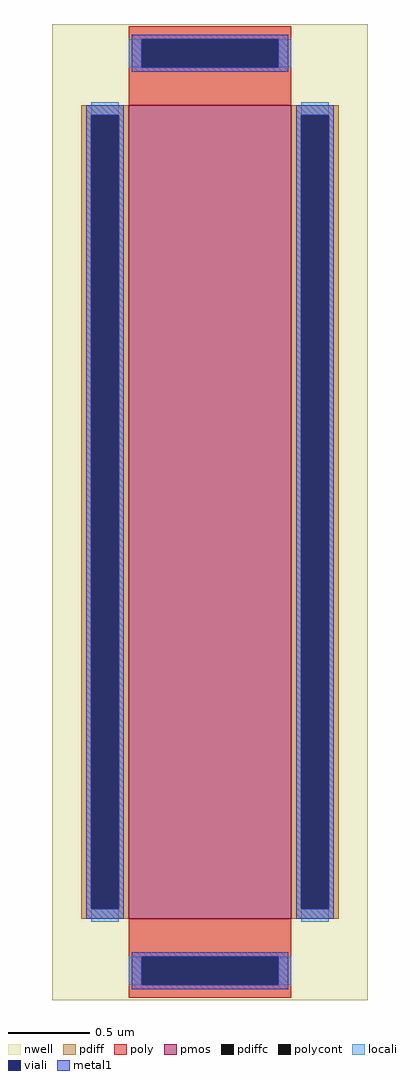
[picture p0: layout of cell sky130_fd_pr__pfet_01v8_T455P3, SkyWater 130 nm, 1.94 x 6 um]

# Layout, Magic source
magic
tech sky130B
magscale 1 2
<< nwell >>
rect -194 -600 194 600
<< pmos >>
rect -100 -500 100 500
<< pdiff >>
rect -158 488 -100 500
rect -158 -488 -146 488
rect -112 -488 -100 488
rect -158 -500 -100 -488
rect 100 488 158 500
rect 100 -488 112 488
rect 146 -488 158 488
rect 100 -500 158 -488
<< pdiffc >>
rect -146 -488 -112 488
rect 112 -488 146 488
<< poly >>
rect -100 581 100 597
rect -100 547 -84 581
rect 84 547 100 581
rect -100 500 100 547
rect -100 -547 100 -500
rect -100 -581 -84 -547
rect 84 -581 100 -547
rect -100 -597 100 -581
<< polycont >>
rect -84 547 84 581
rect -84 -581 84 -547
<< locali >>
rect -100 547 -84 581
rect 84 547 100 581
rect -146 488 -112 504
rect -146 -504 -112 -488
rect 112 488 146 504
rect 112 -504 146 -488
rect -100 -581 -84 -547
rect 84 -581 100 -547
<< viali >>
rect -84 547 84 581
rect -146 -488 -112 488
rect 112 -488 146 488
rect -84 -581 84 -547
<< metal1 >>
rect -96 581 96 587
rect -96 547 -84 581
rect 84 547 96 581
rect -96 541 96 547
rect -152 488 -106 500
rect -152 -488 -146 488
rect -112 -488 -106 488
rect -152 -500 -106 -488
rect 106 488 152 500
rect 106 -488 112 488
rect 146 -488 152 488
rect 106 -500 152 -488
rect -96 -547 96 -541
rect -96 -581 -84 -547
rect 84 -581 96 -547
rect -96 -587 96 -581
<< properties >>
string gencell sky130_fd_pr__pfet_01v8
string library sky130
string parameters w 5 l 1 m 1 nf 1 diffcov 100 polycov 100 guard 0 glc 0 grc 0 gtc 0 gbc 0 tbcov 100 rlcov 100 topc 1 botc 1 poverlap 0 doverlap 0 lmin 0.15 wmin 0.42 class mosfet compatible {sky130_fd_pr__pfet_01v8  sky130_fd_pr__pfet_01v8_lvt sky130_fd_pr__pfet_01v8_hvt  sky130_fd_pr__pfet_g5v0d10v5} full_metal 0 viasrc 100 viadrn 100 viagate 100 viagb 0 viagr 0 viagl 0 viagt 0
<< end >>
